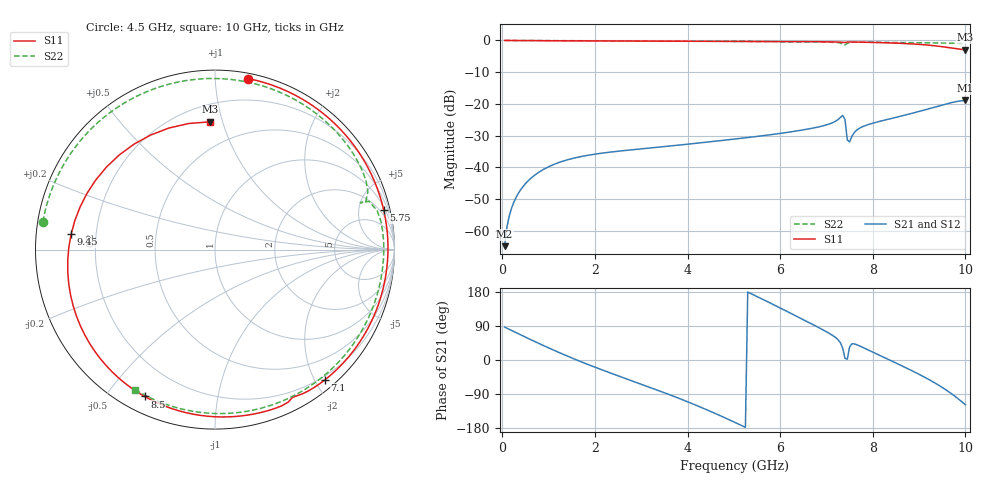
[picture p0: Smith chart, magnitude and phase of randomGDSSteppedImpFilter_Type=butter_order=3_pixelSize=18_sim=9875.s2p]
! freq	dB(S11)	phase(S11)	dB(S12)	phase(S12)
!  dB(S21)	phase(S21)	dB(S22)	phase(S22)
!S-par simulation data
#  GHz  S  DB  R 50
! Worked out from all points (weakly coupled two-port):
!   200 points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, 50 MHz to 10 GHz, reference 50 ohm
!   highest |S21| = -18.93 dB at 10 GHz (marker M1); lowest = -64.9 dB at 50 MHz (marker M2)
!   lowest |S11| = -2.9 dB at 10 GHz (marker M3), VSWR 5.95, Z = 15.7 + j45.5 ohm
!   |S11| at or under -10 dB: nowhere
!   |S22| runs from -1.4 to 0.0 dB; largest |S21 - S12| = 0
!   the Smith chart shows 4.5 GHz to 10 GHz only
!   S11 on the Smith chart (normalised r, x): 4.5 GHz: 0.04, +1.21; 5.75 GHz: 1.30, +8.44; 7.1 GHz: 0.15, -2.14; 8.5 GHz: 0.07, -0.63; 9.45 GHz: 0.11, +0.05; 10 GHz: 0.31, +0.91
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0.05  -0.00 -3.7  -64.90 86.8  -64.90 86.8  -0.00 -2.3
0.2  -0.02 -14.7  -52.91 77.9  -52.91 77.9  -0.01 -9.3
0.5  -0.05 -36.3  -45.18 60.2  -45.18 60.2  -0.03 -23.0
1.1  -0.10 -78.3  -39.19 26.5  -39.19 26.5  -0.06 -49.9
1.75  -0.14 -120.9  -36.49 -7.0  -36.49 -7.0  -0.10 -77.9
2.55  -0.18 -169.8  -34.87 -44.0  -34.87 -44.0  -0.14 -110.7
3.4  -0.22 140.8  -33.63 -81.8  -33.63 -81.8  -0.18 -144.4
3.95  -0.24 109.6  -32.81 -107.7  -32.81 -107.7  -0.21 -166.4
4.5  -0.26 78.9  -31.95 -135.8  -31.95 -135.8  -0.25 170.8
5.05  -0.28 49.2  -31.05 -166.2  -31.05 -166.2  -0.30 146.5
5.75  -0.31 13.2  -29.82 152.5  -29.82 152.5  -0.37 112.3
6.7  -0.38 -31.8  -27.67 93.9  -27.67 93.9  -0.48 58.8
7.1  -0.45 -49.9  -26.14 67.4  -26.14 67.4  -0.57 34.0
7.35  -0.60 -60.9  -23.64 31.6  -23.64 31.6  -1.09 17.7
7.5  -0.48 -66.9  -32.03 34.7  -32.03 34.7  -0.63 13.4
7.7  -0.52 -76.4  -27.81 38.0  -27.81 38.0  -0.53 -0.5
8.35  -0.77 -107.7  -24.79 0.7  -24.79 0.7  -0.61 -39.1
8.5  -0.85 -115.6  -24.25 -7.9  -24.25 -7.9  -0.64 -47.4
9  -1.23 -146.7  -22.40 -37.8  -22.40 -37.8  -0.72 -73.5
9.45  -1.87 173.9  -20.57 -68.5  -20.57 -68.5  -0.81 -95.2
9.7  -2.39 142.7  -19.61 -88.9  -19.61 -88.9  -0.87 -106.6
10  -2.95 92.3  -18.93 -118.1  -18.93 -118.1  -0.93 -119.7
